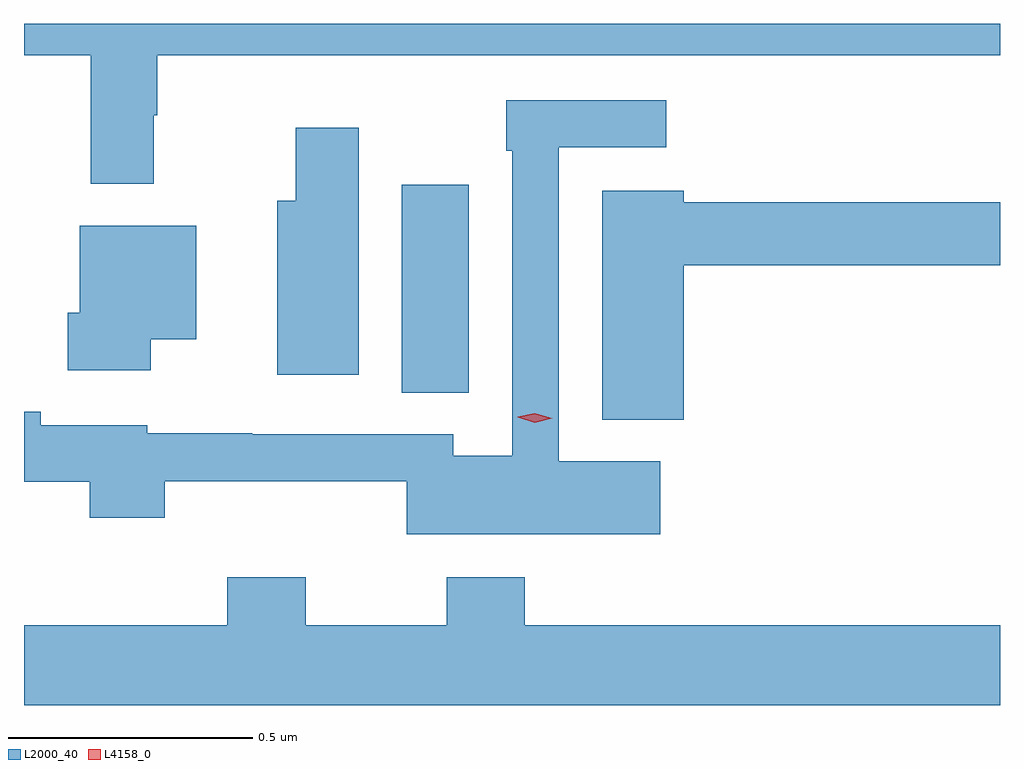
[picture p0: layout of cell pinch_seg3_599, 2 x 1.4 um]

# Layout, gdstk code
import gdstk
lib = gdstk.Library(unit=1e-6, precision=1e-09)
def R(c, l, rs):  # rectangles x0, y0, x1, y1
    for r in rs: c.add(gdstk.rectangle(r[:2], r[2:], *l))
def P(c, l, *ps):  # polygons
    for p in ps: c.add(gdstk.Polygon(p, *l))
L2000_40 = (2000, 40)
L4158_0 = (4158, 0)

pinch_seg3_599 = lib.new_cell('pinch_seg3_599')
R(pinch_seg3_599, L2000_40, [(1068.002,705.553,1068.139,705.979)])
P(pinch_seg3_599, L2000_40, [(1067.494,706.121),(1067.501,706.121),(1067.501,706.244),(1069.228,706.244),(1069.228,706.309),(1067.228,706.309),(1067.228,706.244),(1067.365,706.244),(1067.365,705.981),(1067.494,705.981)],
  [(1068.532,705.412),(1068.324,705.412),(1068.324,706.056),(1068.544,706.056),(1068.544,706.152),(1068.216,706.152),(1068.216,706.049),(1068.228,706.049),(1068.228,705.424),(1068.108,705.424),(1068.108,705.468),(1067.696,705.468),(1067.696,705.47),(1067.481,705.47),(1067.481,705.486),(1067.262,705.486),(1067.262,705.514),(1067.228,705.514),(1067.228,705.37),(1067.363,705.37),(1067.363,705.296),(1067.516,705.296),(1067.516,705.371),(1068.012,705.371),(1068.012,705.263),(1068.532,705.263)],
  [(1067.914,706.096),(1067.785,706.096),(1067.785,705.946),(1067.747,705.946),(1067.747,705.59),(1067.914,705.59)],
  [(1068.58,705.814),(1069.228,705.814),(1069.228,705.943),(1068.58,705.943),(1068.58,705.967),(1068.413,705.967),(1068.413,705.497),(1068.58,705.497)],
  [(1067.488,705.662),(1067.581,705.662),(1067.581,705.895),(1067.342,705.895),(1067.342,705.717),(1067.318,705.717),(1067.318,705.599),(1067.488,705.599)],
  [(1069.228,705.076),(1068.254,705.076),(1068.254,705.175),(1068.094,705.175),(1068.094,705.076),(1067.805,705.076),(1067.805,705.175),(1067.645,705.175),(1067.645,705.076),(1067.228,705.076),(1067.228,704.912),(1069.228,704.912)])
P(pinch_seg3_599, L4158_0, [(1068.275,705.491),(1068.24,705.502),(1068.24,705.502),(1068.24,705.503),(1068.275,705.511),(1068.31,705.5),(1068.31,705.5),(1068.31,705.5)])

lib.write_gds('pinch_seg3_599.gds')
